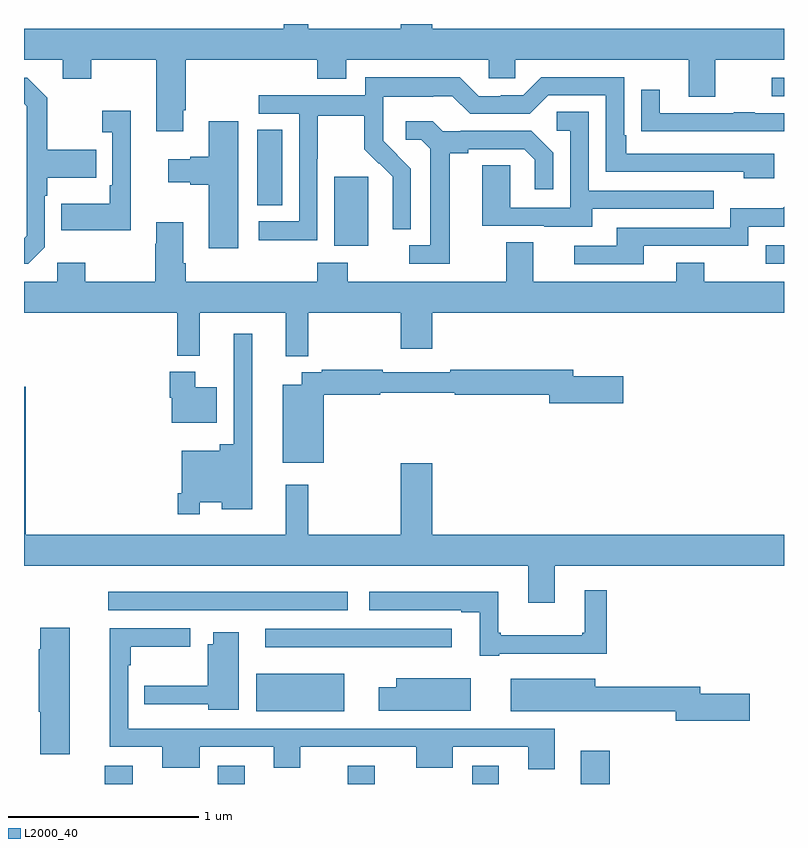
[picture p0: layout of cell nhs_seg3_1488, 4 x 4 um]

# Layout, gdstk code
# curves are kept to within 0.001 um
import gdstk
lib = gdstk.Library(unit=1e-6, precision=1e-09)
def R(c, l, rs):  # rectangles x0, y0, x1, y1
    for r in rs: c.add(gdstk.rectangle(r[:2], r[2:], *l))
def P(c, l, *ps):  # polygons
    for p in ps: c.add(gdstk.Polygon(p, *l))
L2000_40 = (2000, 40)

nhs_seg3_1488 = lib.new_cell('nhs_seg3_1488')
R(nhs_seg3_1488, L2000_40, [(187.426,734.4,187.573,734.497), (188.021,734.4,188.161,734.497), (188.705,734.4,188.845,734.497), (189.359,734.4,189.499,734.497), (189.929,734.4,190.082,734.575), (188.222,734.783,188.686,734.98), (188.271,735.119,189.25,735.216), (187.443,735.315,188.704,735.412), (190.905,737.139,191,737.235), (188.633,737.234,188.812,737.595), (188.228,737.446,188.359,737.843), (190.935,738.021,191,738.117)])
P(nhs_seg3_1488, L2000_40, [(187.837,737.947),(187.85,737.947),(187.85,738.212),(188.543,738.212),(188.543,738.113),(188.695,738.113),(188.695,738.212),(189.447,738.212),(189.447,738.114),(189.585,738.114),(189.585,738.212),(190.499,738.212),(190.499,738.018),(190.639,738.018),(190.639,738.212),(191,738.212),(191,738.376),(189.148,738.376),(189.148,738.4),(188.984,738.4),(188.984,738.376),(188.495,738.376),(188.495,738.4),(188.367,738.4),(188.367,738.376),(187,738.376),(187,738.212),(187.205,738.212),(187.205,738.113),(187.353,738.113),(187.353,738.212),(187.697,738.212),(187.697,737.835),(187.837,737.835)],
  [(188.544,737.692),(188.547,737.692),(188.547,737.916),(188.791,737.916),(188.791,737.741),(188.868,737.664),(188.871,737.667),(188.942,737.597),(188.942,737.474),(188.94,737.474),(188.94,737.32),(189.036,737.32),(189.036,737.638),(188.89,737.786),(188.89,737.883),(188.892,737.883),(188.892,738.017),(189.155,738.017),(189.155,738.021),(189.255,738.021),(189.348,737.928),(189.663,737.928),(189.759,738.024),(190.062,738.024),(190.062,737.622),(190.787,737.622),(190.787,737.588),(190.948,737.588),(190.948,737.718),(190.171,737.718),(190.171,737.815),(190.158,737.815),(190.158,738.12),(189.723,738.12),(189.627,738.024),(189.509,738.024),(189.509,738.021),(189.393,738.021),(189.293,738.121),(188.796,738.121),(188.796,738.024),(188.235,738.024),(188.235,737.928),(188.448,737.928),(188.448,737.361),(188.235,737.361),(188.235,737.263),(188.544,737.263)],
  [(187.11,737.226),(187.11,737.495),(187.123,737.495),(187.123,737.591),(187.379,737.591),(187.379,737.739),(187.123,737.739),(187.123,738.011),(187.017,738.117),(187,738.117),(187,737.981),(187.014,737.967),(187.014,737.286),(187,737.272),(187,737.139),(187.023,737.139)],
  [(191,737.931),(190.847,737.931),(190.847,737.936),(190.735,737.936),(190.735,737.931),(190.345,737.931),(190.345,738.055),(190.249,738.055),(190.249,737.836),(190.351,737.836),(190.351,737.835),(191,737.835)],
  [(187.562,737.944),(187.413,737.944),(187.413,737.831),(187.464,737.831),(187.464,737.551),(187.452,737.551),(187.452,737.455),(187.195,737.455),(187.195,737.315),(187.562,737.315)],
  [(189.991,737.427),(190.631,737.427),(190.631,737.523),(189.972,737.523),(189.972,737.939),(189.804,737.939),(189.804,737.838),(189.876,737.838),(189.876,737.433),(189.558,737.433),(189.558,737.657),(189.413,737.657),(189.413,737.337),(189.737,737.337),(189.737,737.333),(189.991,737.333)],
  [(189.241,737.72),(189.337,737.72),(189.337,737.742),(189.632,737.742),(189.689,737.685),(189.689,737.529),(189.786,737.529),(189.786,737.722),(189.67,737.838),(189.298,737.838),(189.298,737.835),(189.204,737.835),(189.152,737.887),(189.009,737.887),(189.009,737.79),(189.09,737.79),(189.137,737.743),(189.137,737.235),(189.027,737.235),(189.027,737.139),(189.241,737.139)],
  [(188.128,737.887),(187.973,737.887),(187.973,737.702),(187.874,737.702),(187.874,737.689),(187.758,737.689),(187.758,737.567),(187.874,737.567),(187.874,737.555),(187.973,737.555),(187.973,737.22),(188.128,737.22)],
  [(190.261,737.232),(190.812,737.232),(190.812,737.334),(191,737.334),(191,737.438),(190.993,737.431),(190.716,737.431),(190.716,737.328),(190.121,737.328),(190.121,737.232),(189.897,737.232),(189.897,737.136),(190.261,737.136)],
  [(188.495,736.88),(188.984,736.88),(188.984,736.692),(189.148,736.692),(189.148,736.88),(191,736.88),(191,737.044),(190.581,737.044),(190.581,737.143),(190.433,737.143),(190.433,737.044),(189.679,737.044),(189.679,737.252),(189.539,737.252),(189.539,737.044),(188.703,737.044),(188.703,737.143),(188.543,737.143),(188.543,737.044),(187.85,737.044),(187.85,737.14),(187.837,737.14),(187.837,737.356),(187.697,737.356),(187.697,737.243),(187.69,737.243),(187.69,737.044),(187.323,737.044),(187.323,737.143),(187.176,737.143),(187.176,737.044),(187,737.044),(187,736.88),(187.807,736.88),(187.807,736.655),(187.925,736.655),(187.925,736.88),(188.378,736.88),(188.378,736.651),(188.495,736.651)],
  [(187.926,735.884),(188.042,735.884),(188.042,735.845),(188.2,735.845),(188.2,736.771),(188.103,736.771),(188.103,736.189),(188.03,736.189),(188.03,736.153),(187.83,736.153),(187.83,735.931),(187.81,735.931),(187.81,735.819),(187.926,735.819)],
  [(188.578,736.45),(188.874,736.45),(188.874,736.458),(189.268,736.458),(189.268,736.45),(189.764,736.45),(189.764,736.403),(190.153,736.403),(190.153,736.545),(189.892,736.545),(189.892,736.579),(189.244,736.579),(189.244,736.566),(188.888,736.566),(188.888,736.579),(188.566,736.579),(188.566,736.566),(188.462,736.566),(188.462,736.501),(188.363,736.501),(188.363,736.091),(188.578,736.091)],
  [(188.014,736.489),(187.9,736.489),(187.9,736.57),(187.766,736.57),(187.766,736.434),(187.778,736.434),(187.778,736.301),(188.014,736.301)],
  [(189.793,735.548),(191,735.548),(191,735.712),(189.148,735.712),(189.148,736.087),(188.984,736.087),(188.984,735.712),(188.495,735.712),(188.495,735.976),(188.378,735.976),(188.378,735.712),(187.01,735.712),(187.01,736.492),(187,736.492),(187,735.548),(189.653,735.548),(189.653,735.354),(189.793,735.354)],
  [(189.502,735.086),(190.067,735.086),(190.067,735.421),(189.95,735.421),(189.95,735.196),(189.939,735.196),(189.939,735.184),(189.508,735.184),(189.508,735.196),(189.496,735.196),(189.496,735.412),(188.817,735.412),(188.817,735.315),(189.302,735.315),(189.302,735.303),(189.398,735.303),(189.398,735.075),(189.502,735.075)],
  [(187.24,735.223),(187.085,735.223),(187.085,735.11),(187.078,735.11),(187.078,734.779),(187.085,734.779),(187.085,734.556),(187.24,734.556)],
  [(189.793,734.691),(187.548,734.691),(187.548,735.026),(187.561,735.026),(187.561,735.122),(187.876,735.122),(187.876,735.219),(187.451,735.219),(187.451,734.595),(187.727,734.595),(187.727,734.486),(187.924,734.486),(187.924,734.595),(188.315,734.595),(188.315,734.486),(188.455,734.486),(188.455,734.595),(189.065,734.595),(189.065,734.486),(189.256,734.486),(189.256,734.595),(189.653,734.595),(189.653,734.478),(189.793,734.478)],
  [(188.131,735.199),(187.997,735.199),(187.997,735.136),(187.967,735.136),(187.967,734.918),(187.633,734.918),(187.633,734.82),(187.971,734.82),(187.971,734.792),(188.131,734.792)],
  [(189.352,734.956),(188.96,734.956),(188.96,734.908),(188.868,734.908),(188.868,734.786),(189.352,734.786)],
  [(190.819,734.876),(190.558,734.876),(190.558,734.912),(190.006,734.912),(190.006,734.953),(189.563,734.953),(189.563,734.783),(190.102,734.783),(190.102,734.784),(190.43,734.784),(190.43,734.734),(190.819,734.734)])

lib.write_gds('nhs_seg3_1488.gds')
